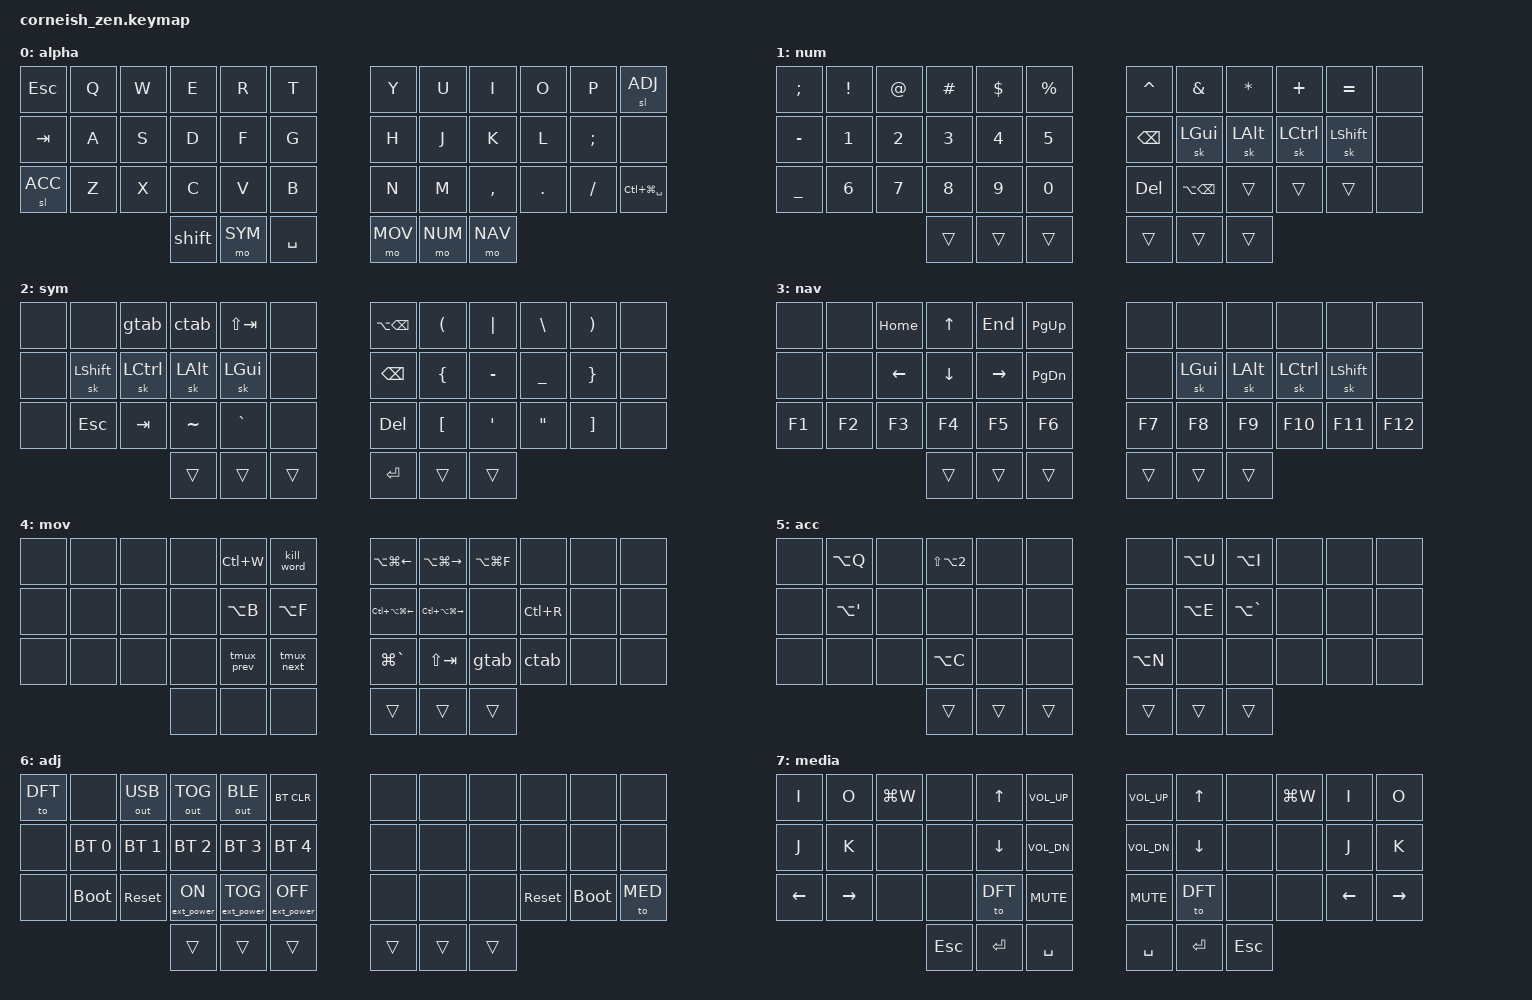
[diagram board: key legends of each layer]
#include <behaviors.dtsi>
#include <dt-bindings/zmk/keys.h>
#include <dt-bindings/zmk/bt.h>
#include <dt-bindings/zmk/outputs.h>
#include <dt-bindings/zmk/ext_power.h>

#define DFT 0

#define NUM 1
#define SYM 2
#define NAV 3
#define MOV 4

#define ACC 5
#define ADJ 6

#define MED 7

#define ___ &none

&sk {
    quick-release;
};

&caps_word {
    continue-list = <MINUS UNDER BSPC DEL>;
};

/ {
    combos {
        compatible = "zmk,combos";
        combo_acc {
            timeout-ms = <50>;
            key-positions = <15 16>;
            layers = <DFT>;
            bindings = <&sl ACC>;
        };
/*
  0     1   2   3   4   5     6   7   8   9  10    11
 12    13  14  15  16  17    18  19  20  21  22    23
 24    25  26  27  28  29    30  31  32  33  34    35
               36  37  38    39  40  41
*/
    };
    behaviors {
        gtab: gtab {
            compatible = "zmk,behavior-tri-state";
            label = "GUI_TAB";
            #binding-cells = <0>;
            bindings = <&kt LGUI>, <&kp TAB>, <&kt LGUI>;
            ignored-key-positions = <4 31>;
        };
        ctab: ctab {
            compatible = "zmk,behavior-tri-state";
            label = "CTRL_TAB";
            #binding-cells = <0>;
            bindings = <&kt LCTRL>, <&kp TAB>, <&kt LCTRL>;
            ignored-key-positions = <4 31>;
        };
        shift: shift {
            compatible = "zmk,behavior-mod-morph";
            label = "SMART_SHIFT";
            #binding-cells = <0>;
            bindings = <&sk LSHFT>, <&caps_word>;
            mods = <(MOD_LSFT)>;
        };
    };
    macros {
        kill_word: kill_word {
            label = "kill_word";
            compatible = "zmk,behavior-macro";
            #binding-cells = <0>;
            bindings = <&macro_tap &kp ESC &kp D>;
        };
        tmux_prev: tmux_prev {
            label = "tmux_prev";
            compatible = "zmk,behavior-macro";
            #binding-cells = <0>;
            bindings = <&macro_tap &kp LC(Q) &kp P>;
        };
        tmux_next: tmux_next {
            label = "tmux_next";
            compatible = "zmk,behavior-macro";
            #binding-cells = <0>;
            bindings = <&macro_tap &kp LC(Q) &kp N>;
        };
    };
    keymap {
        compatible = "zmk,keymap";

        alpha {
            label = "alpha";
            bindings = <
&kp ESC        &kp Q &kp W &kp     E &kp   R &kp     T        &kp   Y &kp   U &kp     I &kp   O &kp    P        &sl ADJ
&kp TAB        &kp A &kp S &kp     D &kp   F &kp     G        &kp   H &kp   J &kp     K &kp   L &kp SEMI        ___
&sl ACC        &kp Z &kp X &kp     C &kp   V &kp     B        &kp   N &kp   M &kp COMMA &kp DOT &kp FSLH        &kp LC(LG(SPACE))
                           &shift    &mo SYM &kp SPACE        &mo MOV &mo NUM &mo   NAV
            >;
        };
        num {
            label = "num";
            bindings = <
&kp SEMI           &kp EXCL &kp AT &kp HASH &kp DLLR &kp PRCNT        &kp CARET &kp     AMPS &kp STAR &kp PLUS  &kp EQUAL        ___  
&kp MINUS          &kp   N1 &kp N2 &kp   N3 &kp   N4 &kp    N5        &kp  BKSP &sk     LGUI &sk LALT &sk LCTRL &sk LSHFT        ___  
&kp UNDER          &kp   N6 &kp N7 &kp   N8 &kp   N9 &kp    N0        &kp   DEL &kp LA(BKSP) &trans   &trans    &trans           ___  
                                   &trans   &trans   &trans           &trans    &trans       &trans
            >;
        };
        sym {
            label = "sym";
            bindings = <
___          ___       &gtab     &ctab     &kp LS(TAB) ___           &kp LA(BKSP) &kp LPAR &kp  PIPE &kp  BSLH &kp RPAR        ___  
___          &sk LSHFT &sk LCTRL &sk  LALT &sk    LGUI ___           &kp     BKSP &kp LBRC &kp MINUS &kp UNDER &kp RBRC        ___  
___          &kp   ESC &kp   TAB &kp TILDE &kp   GRAVE ___           &kp      DEL &kp LBKT &kp   SQT &kp   DQT &kp RBKT        ___  
                                 &trans    &trans      &trans        &kp      RET &trans   &trans
            >;
        };
        nav {
            label = "nav";
            bindings = <
___           ___    &kp HOME &kp   UP &kp   END &kp PG_UP        ___    ___      ___      ___       ___              ___  
___           ___    &kp LEFT &kp DOWN &kp RIGHT &kp PG_DN        ___    &sk LGUI &sk LALT &sk LCTRL &sk LSHFT        ___  
&kp F1        &kp F2 &kp   F3 &kp   F4 &kp    F5 &kp    F6        &kp F7 &kp   F8 &kp   F9 &kp   F10 &kp   F11        &kp F12
                              &trans   &trans    &trans           &trans &trans   &trans
            >;
        };
        mov {
            label = "mov";
            bindings = <
___          ___ ___ ___ &kp  LC(W) &kill_word           &kp    LA(LG(LEFT))  &kp    LA(LG(RIGHT))  &kp LA(LG(F)) ___       ___        ___  
___          ___ ___ ___ &kp  LA(B) &kp  LA(F)           &kp LC(LA(LG(LEFT))) &kp LC(LA(LG(RIGHT))) ___           &kp LC(R) ___        ___  
___          ___ ___ ___ &tmux_prev &tmux_next           &kp       LG(GRAVE)  &kp         LS(TAB)   &gtab         &ctab     ___        ___            
                     ___ ___        ___                  &trans               &trans                &trans
            >;
        };
        accents {
            label = "acc";
            bindings = <
___          &kp LA(Q)   ___   &kp LS(LA(N2)) ___    ___          ___       &kp LA(U) &kp     LA(I) ___   ___          ___  
___          &kp LA(SQT) ___   ___            ___    ___          ___       &kp LA(E) &kp LA(GRAVE) ___   ___          ___  
___          ___         ___   &kp      LA(C) ___    ___          &kp LA(N) ___       ___           ___   ___          ___  
                               &trans         &trans &trans       &trans    &trans    &trans
            >;
        };
        adjust {
            label = "adj";
            bindings = <
&to DFT      ___          &out OUT_USB &out     OUT_TOG &out      OUT_BLE &bt        BT_CLR        ___    ___    ___   ___        ___                ___   
___          &bt BT_SEL 0 &bt BT_SEL 1 &bt     BT_SEL 2 &bt      BT_SEL 3 &bt      BT_SEL 4        ___    ___    ___   ___        ___                ___   
___          &bootloader  &sys_reset   &ext_power EP_ON &ext_power EP_TOG &ext_power EP_OFF        ___    ___    ___   &sys_reset &bootloader        &to MED
                                       &trans           &trans            &trans                   &trans &trans &trans
            >;
        };
        media {
            label = "media";
            bindings = <
&kp    I        &kp     O &kp LG(W)  ___     &kp   UP &kp C_VOL_UP        &kp C_VOL_UP &kp   UP ___     &kp LG(W) &kp    I        &kp     O
&kp    J        &kp     K ___        ___     &kp DOWN &kp C_VOL_DN        &kp C_VOL_DN &kp DOWN ___     ___       &kp    J        &kp     K 
&kp LEFT        &kp RIGHT ___        ___     &to  DFT &kp   C_MUTE        &kp   C_MUTE &to  DFT ___     ___       &kp LEFT        &kp RIGHT 
                                     &kp ESC &kp  RET &kp    SPACE        &kp    SPACE &kp  RET &kp ESC
            >;
        };
    };
};
